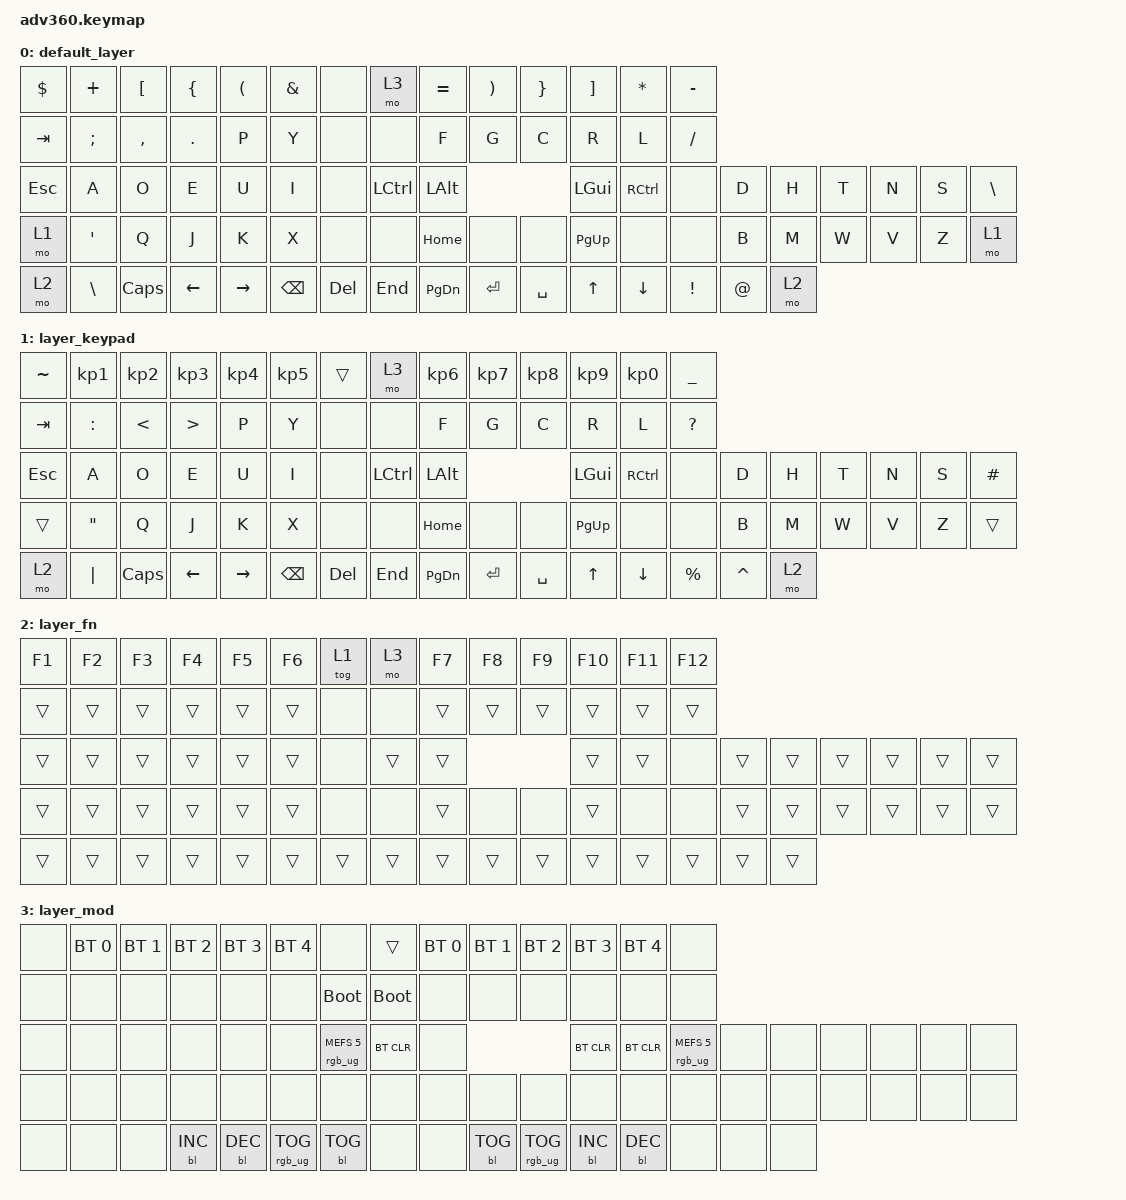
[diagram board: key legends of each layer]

/*
 * Copyright (c) 2020 The ZMK Contributors
 *
 * SPDX-License-Identifier: MIT
 */


/* THIS FILE WAS GENERATED!
 *
 * This file was generated automatically. You may or may not want to
 * edit it directly.
 */

#include <behaviors.dtsi>
#include <dt-bindings/zmk/keys.h>
#include <dt-bindings/zmk/bt.h>
#include <dt-bindings/zmk/rgb.h>
#include <dt-bindings/zmk/backlight.h>

/ {
  behaviors {
    #include "macros.dtsi"

    hm: homerow_mods {
        compatible = "zmk,behavior-hold-tap";
        label = "HOMEROW_MODS";
        #binding-cells = <2>;
        tapping-term-ms = <200>;
        quick_tap_ms = <175>;
        flavor = "tap-preferred";
        bindings = <&kp>, <&kp>;
    };
  };

    keymap {
        compatible = "zmk,keymap";


        default_layer {
            bindings = <
 &kp DOLLAR          &kp PLUS  &kp LEFT_BRACKET  &kp LEFT_BRACE  &kp LEFT_PARENTHESIS  &kp AMPERSAND              &none      &mo 3  &kp EQUAL  &kp RIGHT_PARENTHESIS  &kp RIGHT_BRACE  &kp RIGHT_BRACKET   &kp STAR        &kp MINUS
    &kp TAB     &kp SEMICOLON         &kp COMMA      &kp PERIOD                 &kp P          &kp Y              &none      &none      &kp F                  &kp G            &kp C              &kp R      &kp L         &kp FSLH
    &kp ESC             &kp A             &kp O           &kp E                 &kp U          &kp I              &none  &kp LCTRL   &kp LALT                                                   &kp LGUI  &kp RCTRL            &none   &kp D   &kp H   &kp T   &kp N   &kp S  &kp BACKSLASH
      &mo 1  &kp SINGLE_QUOTE             &kp Q           &kp J                 &kp K          &kp X              &none      &none   &kp HOME                  &none            &none          &kp PG_UP      &none            &none   &kp B   &kp M   &kp W   &kp V   &kp Z          &mo 1
      &mo 2     &kp BACKSLASH          &kp CAPS        &kp LEFT             &kp RIGHT       &kp BSPC            &kp DEL    &kp END  &kp PG_DN              &kp ENTER        &kp SPACE             &kp UP   &kp DOWN  &kp EXCLAMATION  &kp AT   &mo 2
            >;
        };

        layer_keypad {
            bindings = <
 &kp TILDE          &kp KP_N1  &kp KP_N2  &kp KP_N3  &kp KP_N4  &kp KP_N5             &trans      &mo 3  &kp KP_N6  &kp KP_N7  &kp KP_N8  &kp KP_N9  &kp KP_N0  &kp UNDERSCORE
   &kp TAB          &kp COLON     &kp LT     &kp GT      &kp P      &kp Y              &none      &none      &kp F      &kp G      &kp C      &kp R      &kp L       &kp QMARK
   &kp ESC              &kp A      &kp O      &kp E      &kp U      &kp I              &none  &kp LCTRL   &kp LALT                         &kp LGUI  &kp RCTRL           &none      &kp D   &kp H   &kp T   &kp N   &kp S  &kp HASH
    &trans  &kp DOUBLE_QUOTES      &kp Q      &kp J      &kp K      &kp X              &none      &none   &kp HOME      &none      &none  &kp PG_UP      &none           &none      &kp B   &kp M   &kp W   &kp V   &kp Z    &trans
     &mo 2           &kp PIPE   &kp CAPS   &kp LEFT  &kp RIGHT   &kp BSPC            &kp DEL    &kp END  &kp PG_DN  &kp ENTER  &kp SPACE     &kp UP   &kp DOWN     &kp PERCENT  &kp CARET   &mo 2
            >;
        };

        layer_fn {
            bindings = <
 &kp F1  &kp F2  &kp F3  &kp F4  &kp F5  &kp F6            &tog 1   &mo 3  &kp F7  &kp F8  &kp F9  &kp F10  &kp F11  &kp F12
 &trans  &trans  &trans  &trans  &trans  &trans             &none   &none  &trans  &trans  &trans   &trans   &trans   &trans
 &trans  &trans  &trans  &trans  &trans  &trans             &none  &trans  &trans                   &trans   &trans    &none  &trans  &trans  &trans  &trans  &trans  &trans
 &trans  &trans  &trans  &trans  &trans  &trans             &none   &none  &trans   &none   &none   &trans    &none    &none  &trans  &trans  &trans  &trans  &trans  &trans
 &trans  &trans  &trans  &trans  &trans  &trans            &trans  &trans  &trans  &trans  &trans   &trans   &trans   &trans  &trans  &trans
            >;
        };

        layer_mod {
            bindings = <
  &none  &bt BT_SEL 0  &bt BT_SEL 1  &bt BT_SEL 2  &bt BT_SEL 3     &bt BT_SEL 4                             &none       &trans  &bt BT_SEL 0  &bt BT_SEL 1     &bt BT_SEL 2  &bt BT_SEL 3  &bt BT_SEL 4                   &none
  &none         &none         &none         &none         &none            &none                       &bootloader  &bootloader         &none         &none            &none         &none         &none                   &none
  &none         &none         &none         &none         &none            &none            &rgb_ug RGB_MEFS_CMD 5   &bt BT_CLR         &none                                   &bt BT_CLR    &bt BT_CLR  &rgb_ug RGB_MEFS_CMD 5   &none   &none   &none   &none   &none   &none
  &none         &none         &none         &none         &none            &none                             &none        &none         &none         &none            &none         &none         &none                   &none   &none   &none   &none   &none   &none   &none
  &none         &none         &none    &bl BL_INC    &bl BL_DEC  &rgb_ug RGB_TOG                        &bl BL_TOG        &none         &none    &bl BL_TOG  &rgb_ug RGB_TOG    &bl BL_INC    &bl BL_DEC                   &none   &none   &none
            >;
        };

    };
};
